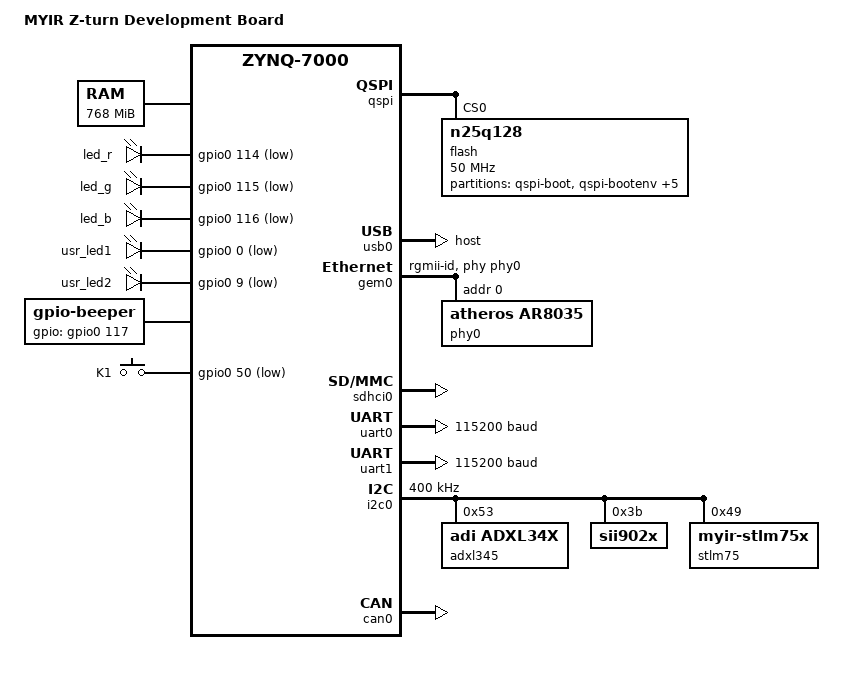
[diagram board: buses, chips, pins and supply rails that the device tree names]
/*
 *  Copyright (C) 2011 - 2014 Xilinx
 *  Copyright (C) 2012 National Instruments Corp.
 *
 * This software is licensed under the terms of the GNU General Public
 * License version 2, as published by the Free Software Foundation, and
 * may be copied, distributed, and modified under those terms.
 *
 * This program is distributed in the hope that it will be useful,
 * but WITHOUT ANY WARRANTY; without even the implied warranty of
 * MERCHANTABILITY or FITNESS FOR A PARTICULAR PURPOSE.  See the
 * GNU General Public License for more details.
 */
/dts-v1/;
/include/ "zynq-7000.dtsi"


/ {
	model = "MYIR Z-turn Development Board";
	compatible = "myir,zynq-zturn", "xlnx,zynq-7000";

	aliases {
		ethernet0 = &gem0;
		serial0 = &uart1;
		serial1 = &uart0;
		spi0 = &qspi;
	};

	memory {
		device_type = "memory";
		reg = <0x0 0x30000000>; // Reserved 256MB for xylonfb driver
	};

	chosen {
		bootargs = "console=ttyPS0,115200 root=/dev/ram rw earlyprintk";
		linux,stdout-path = "/amba/serial@e0001000";
	};
};

&gpio0 {
    emio-gpio-width = <64>;
    gpio-mask-high = <0x0>;
    gpio-mask-low = <0x5600>;
    xlnx,emio-gpio-width = <0x40>;
    xlnx,mio-gpio-mask = <0x5600>;
};

&qspi {
	status = "okay";
	is-dual = <0>;
	num-cs = <1>;
	xlnx,fb-clk = <0x1>;
	xlnx,qspi-mode = <0x0>;
	flash@0 {
		compatible = "n25q128";
		reg = <0x0>;
		spi-tx-bus-width = <1>;
		spi-rx-bus-width = <4>;
		spi-max-frequency = <50000000>;
		#address-cells = <1>;
		#size-cells = <1>;
		partition@qspi-boot {
			label = "qspi-boot";
			reg = <0x0 0x080000>;
		};
		partition@qspi-bootenv {
			label = "qspi-bootenv";
			reg = <0x080000 0x020000>;
		};		
		partition@qspi-bitstream {
			label = "qspi-bitstream";
			reg = <0x0A0000 0x460000>;
		};		
		partition@qspi-kernel {
			label = "qspi-kernel";
			reg = <0x500000 0x480000>;
		};
		partition@qspi-devicetree {
			label = "qspi-devicetree";
			reg = <0x980000 0x010000>;
		};
		partition@qspi-rootfs {
			label = "qspi-rootfs";
			reg = <0x990000 0x600000>;
		};
		partition@qspi-data {
			label = "data";
			reg = <0xF90000 0x070000>;
		};
	};
};

&usb0 {
	status = "okay";
	dr_mode = "host";
	phy_type = "ulpi";	
};

&gem0 {
    compatible = "cdns,gem";
    reg = <0xe000b000 0x4000>;
    status = "okay";
    interrupts = <0 22 4>;
    interrupt-parent = <&intc>;
    clocks = <&clkc 30>, <&clkc 30>, <&clkc 13>;
    clock-names = "pclk", "hclk", "tx_clk";
    phy-mode = "rgmii-id";
    phy-handle = <&phy0>;
    phy0: phy@0 {
        compatible = "atheros,ar8035";
        device_type = "ethernet-phy";
        reg = <0>;
    };
};

&sdhci0 {
	status = "okay";
    xlnx,has-cd = <0x1>;
    xlnx,has-power = <0x0>;
    xlnx,has-wp = <0x1>;
};

&uart0 {
	status = "okay";
    current-speed = <115200>;
    port-number = <1>;
    xlnx,has-modem = <0x0>;
};

&uart1 {
	status = "okay";
    current-speed = <115200>;
    port-number = <0>;
    xlnx,has-modem = <0x0>;
};

&i2c0 {
	status = "okay";
//  bus-id = <0x0>;
    clock-frequency = <400000>;
    xlnx,has-interrupt = <0x1>;
	
    adxl345@53 {
        compatible = "adi,adxl34x","adxl34x";
        reg = <0x53>;
        interrupt-parent = <&intc>;
        interrupts = < 0 31 4 >;
    };

    sii902x@3b {
        compatible = "sii902x";
        reg = <0x3b>;
        interrupt-parent = <&intc>;
        interrupts = < 0 29 4 >;
		mode_str = "1920x1080";
		bits-per-pixel = <16>;
    };

	stlm75@49 {
		status = "okay";
		compatible = "myir-stlm75x";
		reg = <0x49>;
		interrupts = < 0 32 4 >;
	};
};

/*
&i2c1 {
	status = "okay";
    clock-frequency = <400000>;
    xlnx,has-interrupt = <0x1>;
    
	ft0x5x_ts@38 {
        compatible = "ft5x06_ts";
        reg = <0x38>;
        tp_int = <&gpio0 106 1>;
        tp_resetn = <&gpio0 107 1>;
	    polling_mode = /bits/ 8 <0>;
        multi_touch = /bits/ 8 <0>;
    };	
};
*/

&can0 {
	status = "okay";
};

&ps7_axi {

	gpio-leds {
		compatible = "gpio-leds";
		led_r {
			label = "led_r";
			gpios = <&gpio0 114 1>;
			default-state = "on";
			linux,default-trigger = "heartbeat";
		};
		led_g {
			label = "led_g";
			gpios = <&gpio0 115 1>;
			default-state = "on";
			linux,default-trigger = "heartbeat";
		};
		led_b {
			label = "led_b";
			gpios = <&gpio0 116 1>;
			default-state = "on";
			linux,default-trigger = "heartbeat";
		};
		usr_led1 {
			label = "usr_led1";
			gpios = <&gpio0 0 1>;
			default-state = "off";
			linux,default-trigger = "none";
		};
		usr_led2 {
			label = "usr_led2";
			gpios = <&gpio0 9 1>;
			default-state = "off";
			linux,default-trigger = "none";
		};
	};
	
    gpio-beep {
            compatible = "gpio-beeper";
            lable = "pl-beep";
            gpios = <&gpio0 117 0>;
        };
	
/* MYIR, added USR key */
	gpio-keys {
		compatible = "gpio-keys";
		#address-cells = <1>;
		#size-cells = <0>;
		autorepeat;
		K1 {
			label = "K1";
			gpios = <&gpio0 50 1>;
			linux,code = <102>; /* KEY_HOME */
			gpio-key,wakeup;
			autorepeat;
		};

/*	Switches
		sw1 {
			label = "sw1";
			gpios = <&gpio0 110 1>;
			linux,code = <103>;
			gpio-key,wakeup;
			autorepeat;
		};
		sw2 {
			label = "sw2";
			gpios = <&gpio0 111 1>;
			linux,code = <104>;
			gpio-key,wakeup;
			autorepeat;
		};
		sw3 {
			label = "sw3";
			gpios = <&gpio0 112 1>;
			linux,code = <104>;
			gpio-key,wakeup;
			autorepeat;
		};
		sw4 {
			label = "sw4";
			gpios = <&gpio0 113 1>;
			linux,code = <105>;
			gpio-key,wakeup;
			autorepeat;
		}; */
	};
	
 /include/ "zynq-zturn-xylon.dtsi"
};
